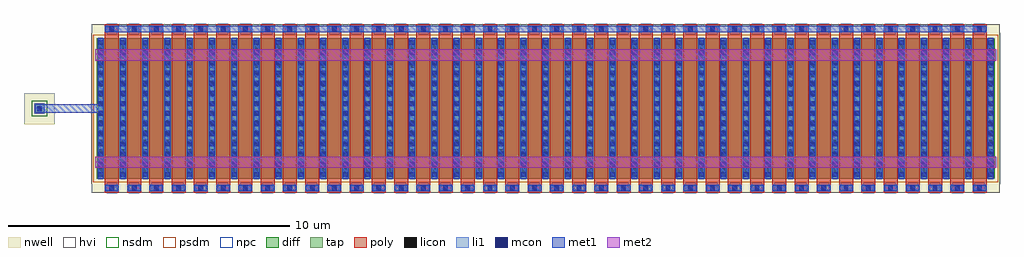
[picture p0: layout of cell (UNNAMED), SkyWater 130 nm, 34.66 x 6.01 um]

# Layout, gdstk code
import gdstk
lib = gdstk.Library(unit=1e-6, precision=1e-09)
def R(c, l, rs):  # rectangles x0, y0, x1, y1
    for r in rs: c.add(gdstk.rectangle(r[:2], r[2:], *l))
def A(c, l, x, y, w, h, nx, ny, dx, dy):  # array of equal rectangles
    R(c, l, [(x+i*dx, y+j*dy, x+i*dx+w, y+j*dy+h) for i in range(nx) for j in range(ny)])
nwell = (64, 20)
diff = (65, 20)
tap = (65, 44)
poly = (66, 20)
licon = (66, 44)
li1 = (67, 20)
mcon = (67, 44)
met1 = (68, 20)
met2 = (69, 20)
hvi = (75, 20)
nsdm = (93, 44)
psdm = (94, 20)
npc = (95, 20)

c__unnamed_ = lib.new_cell('(UNNAMED)')
R(c__unnamed_, nwell, [(-0.15,0,32.1,6)])
R(c__unnamed_, diff, [(0.03,0.5,31.92,5.5)])
A(c__unnamed_, poly, 0.32, 0.015, 0.5, 5.97, 40, 1, 0.79, 0)
A(c__unnamed_, licon, 0.485, 0.095, 0.17, 0.17, 40, 2, 0.79, 5.64)
A(c__unnamed_, licon, 0.09, 0.705, 0.17, 0.17, 41, 14, 0.79, 0.34)
R(c__unnamed_, licon, [(-2.085,2.908,-1.915,3.078)])
A(c__unnamed_, li1, 0.32, 0.095, 0.5, 0.17, 40, 2, 0.79, 5.64)
A(c__unnamed_, li1, 0.09, 0.48, 0.17, 5.04, 41, 1, 0.79, 0)
A(c__unnamed_, mcon, 0.485, 0.095, 0.17, 0.17, 40, 2, 0.79, 5.64)
A(c__unnamed_, mcon, 0.09, 0.575, 0.17, 0.17, 41, 14, 0.79, 0.36)
R(c__unnamed_, mcon, [(-2.085,2.908,-1.915,3.078)])
A(c__unnamed_, met1, 0.34, 0.065, 0.46, 0.23, 40, 1, 0.79, 0)
A(c__unnamed_, met1, 0.06, 0.5, 0.23, 5, 41, 1, 0.79, 0)
A(c__unnamed_, met1, 1.13, 5.705, 0.46, 0.23, 39, 1, 0.79, 0)
R(c__unnamed_, met1, [(0.34,5.705,31.2,5.935)])
R(c__unnamed_, hvi, [(-0.15,0,32.1,0.315), (-0.155,0.315,32.105,5.685), (-0.15,5.685,32.1,6)])
R(c__unnamed_, psdm, [(-0.095,0.375,32.045,5.625)])
A(c__unnamed_, npc, 0.385, -0.005, 0.37, 0.37, 40, 2, 0.79, 5.64)
c__unnamed_.add(gdstk.FlexPath([(-2.55,2.993),(-1.45,2.993)], 1.1, ends="flush", simple_path=True, layer=64, datatype=20))  # nwell
c__unnamed_.add(gdstk.FlexPath([(-2.188,2.993),(-1.813,2.993)], 0.375, ends="flush", simple_path=True, layer=67, datatype=20))  # li1
c__unnamed_.add(gdstk.FlexPath([(-2.15,2.993),(0.07,2.993)], 0.3, ends="flush", simple_path=True, layer=68, datatype=20))  # met1
c__unnamed_.add(gdstk.FlexPath([(31.705,4.9),(31.855,4.9)], 0.15, ends="flush", simple_path=True, layer=68, datatype=20))  # met1
c__unnamed_.add(gdstk.FlexPath([(30.125,4.9),(30.275,4.9)], 0.15, ends="flush", simple_path=True, layer=68, datatype=20))  # met1
c__unnamed_.add(gdstk.FlexPath([(28.545,4.9),(28.695,4.9)], 0.15, ends="flush", simple_path=True, layer=68, datatype=20))  # met1
c__unnamed_.add(gdstk.FlexPath([(26.965,4.9),(27.115,4.9)], 0.15, ends="flush", simple_path=True, layer=68, datatype=20))  # met1
c__unnamed_.add(gdstk.FlexPath([(25.385,4.9),(25.535,4.9)], 0.15, ends="flush", simple_path=True, layer=68, datatype=20))  # met1
c__unnamed_.add(gdstk.FlexPath([(23.805,4.9),(23.955,4.9)], 0.15, ends="flush", simple_path=True, layer=68, datatype=20))  # met1
c__unnamed_.add(gdstk.FlexPath([(22.225,4.9),(22.375,4.9)], 0.15, ends="flush", simple_path=True, layer=68, datatype=20))  # met1
c__unnamed_.add(gdstk.FlexPath([(20.645,4.9),(20.795,4.9)], 0.15, ends="flush", simple_path=True, layer=68, datatype=20))  # met1
c__unnamed_.add(gdstk.FlexPath([(19.065,4.9),(19.215,4.9)], 0.15, ends="flush", simple_path=True, layer=68, datatype=20))  # met1
c__unnamed_.add(gdstk.FlexPath([(17.485,4.9),(17.635,4.9)], 0.15, ends="flush", simple_path=True, layer=68, datatype=20))  # met1
c__unnamed_.add(gdstk.FlexPath([(15.905,4.9),(16.055,4.9)], 0.15, ends="flush", simple_path=True, layer=68, datatype=20))  # met1
c__unnamed_.add(gdstk.FlexPath([(14.325,4.9),(14.475,4.9)], 0.15, ends="flush", simple_path=True, layer=68, datatype=20))  # met1
c__unnamed_.add(gdstk.FlexPath([(12.745,4.9),(12.895,4.9)], 0.15, ends="flush", simple_path=True, layer=68, datatype=20))  # met1
c__unnamed_.add(gdstk.FlexPath([(11.165,4.9),(11.315,4.9)], 0.15, ends="flush", simple_path=True, layer=68, datatype=20))  # met1
c__unnamed_.add(gdstk.FlexPath([(9.585,4.9),(9.735,4.9)], 0.15, ends="flush", simple_path=True, layer=68, datatype=20))  # met1
c__unnamed_.add(gdstk.FlexPath([(8.005,4.9),(8.155,4.9)], 0.15, ends="flush", simple_path=True, layer=68, datatype=20))  # met1
c__unnamed_.add(gdstk.FlexPath([(6.425,4.9),(6.575,4.9)], 0.15, ends="flush", simple_path=True, layer=68, datatype=20))  # met1
c__unnamed_.add(gdstk.FlexPath([(4.845,4.9),(4.995,4.9)], 0.15, ends="flush", simple_path=True, layer=68, datatype=20))  # met1
c__unnamed_.add(gdstk.FlexPath([(3.265,4.9),(3.415,4.9)], 0.15, ends="flush", simple_path=True, layer=68, datatype=20))  # met1
c__unnamed_.add(gdstk.FlexPath([(1.685,4.9),(1.835,4.9)], 0.15, ends="flush", simple_path=True, layer=68, datatype=20))  # met1
c__unnamed_.add(gdstk.FlexPath([(0.105,4.9),(0.255,4.9)], 0.15, ends="flush", simple_path=True, layer=68, datatype=20))  # met1
c__unnamed_.add(gdstk.FlexPath([(0.105,4.9),(0.255,4.9)], 0.15, ends="flush", simple_path=True, layer=68, datatype=20))  # met1
c__unnamed_.add(gdstk.FlexPath([(1.685,4.9),(1.835,4.9)], 0.15, ends="flush", simple_path=True, layer=68, datatype=20))  # met1
c__unnamed_.add(gdstk.FlexPath([(3.265,4.9),(3.415,4.9)], 0.15, ends="flush", simple_path=True, layer=68, datatype=20))  # met1
c__unnamed_.add(gdstk.FlexPath([(4.845,4.9),(4.995,4.9)], 0.15, ends="flush", simple_path=True, layer=68, datatype=20))  # met1
c__unnamed_.add(gdstk.FlexPath([(6.425,4.9),(6.575,4.9)], 0.15, ends="flush", simple_path=True, layer=68, datatype=20))  # met1
c__unnamed_.add(gdstk.FlexPath([(8.005,4.9),(8.155,4.9)], 0.15, ends="flush", simple_path=True, layer=68, datatype=20))  # met1
c__unnamed_.add(gdstk.FlexPath([(9.585,4.9),(9.735,4.9)], 0.15, ends="flush", simple_path=True, layer=68, datatype=20))  # met1
c__unnamed_.add(gdstk.FlexPath([(11.165,4.9),(11.315,4.9)], 0.15, ends="flush", simple_path=True, layer=68, datatype=20))  # met1
c__unnamed_.add(gdstk.FlexPath([(12.745,4.9),(12.895,4.9)], 0.15, ends="flush", simple_path=True, layer=68, datatype=20))  # met1
c__unnamed_.add(gdstk.FlexPath([(14.325,4.9),(14.475,4.9)], 0.15, ends="flush", simple_path=True, layer=68, datatype=20))  # met1
c__unnamed_.add(gdstk.FlexPath([(15.905,4.9),(16.055,4.9)], 0.15, ends="flush", simple_path=True, layer=68, datatype=20))  # met1
c__unnamed_.add(gdstk.FlexPath([(17.485,4.9),(17.635,4.9)], 0.15, ends="flush", simple_path=True, layer=68, datatype=20))  # met1
c__unnamed_.add(gdstk.FlexPath([(19.065,4.9),(19.215,4.9)], 0.15, ends="flush", simple_path=True, layer=68, datatype=20))  # met1
c__unnamed_.add(gdstk.FlexPath([(20.645,4.9),(20.795,4.9)], 0.15, ends="flush", simple_path=True, layer=68, datatype=20))  # met1
c__unnamed_.add(gdstk.FlexPath([(22.225,4.9),(22.375,4.9)], 0.15, ends="flush", simple_path=True, layer=68, datatype=20))  # met1
c__unnamed_.add(gdstk.FlexPath([(23.805,4.9),(23.955,4.9)], 0.15, ends="flush", simple_path=True, layer=68, datatype=20))  # met1
c__unnamed_.add(gdstk.FlexPath([(25.385,4.9),(25.535,4.9)], 0.15, ends="flush", simple_path=True, layer=68, datatype=20))  # met1
c__unnamed_.add(gdstk.FlexPath([(26.965,4.9),(27.115,4.9)], 0.15, ends="flush", simple_path=True, layer=68, datatype=20))  # met1
c__unnamed_.add(gdstk.FlexPath([(28.545,4.9),(28.695,4.9)], 0.15, ends="flush", simple_path=True, layer=68, datatype=20))  # met1
c__unnamed_.add(gdstk.FlexPath([(30.125,4.9),(30.275,4.9)], 0.15, ends="flush", simple_path=True, layer=68, datatype=20))  # met1
c__unnamed_.add(gdstk.FlexPath([(31.705,4.9),(31.855,4.9)], 0.15, ends="flush", simple_path=True, layer=68, datatype=20))  # met1
c__unnamed_.add(gdstk.FlexPath([(0.89,1.09),(1.04,1.09)], 0.15, ends="flush", simple_path=True, layer=68, datatype=20))  # met1
c__unnamed_.add(gdstk.FlexPath([(2.47,1.09),(2.62,1.09)], 0.15, ends="flush", simple_path=True, layer=68, datatype=20))  # met1
c__unnamed_.add(gdstk.FlexPath([(4.05,1.09),(4.2,1.09)], 0.15, ends="flush", simple_path=True, layer=68, datatype=20))  # met1
c__unnamed_.add(gdstk.FlexPath([(5.63,1.09),(5.78,1.09)], 0.15, ends="flush", simple_path=True, layer=68, datatype=20))  # met1
c__unnamed_.add(gdstk.FlexPath([(7.21,1.09),(7.36,1.09)], 0.15, ends="flush", simple_path=True, layer=68, datatype=20))  # met1
c__unnamed_.add(gdstk.FlexPath([(8.79,1.09),(8.94,1.09)], 0.15, ends="flush", simple_path=True, layer=68, datatype=20))  # met1
c__unnamed_.add(gdstk.FlexPath([(10.37,1.09),(10.52,1.09)], 0.15, ends="flush", simple_path=True, layer=68, datatype=20))  # met1
c__unnamed_.add(gdstk.FlexPath([(11.95,1.09),(12.1,1.09)], 0.15, ends="flush", simple_path=True, layer=68, datatype=20))  # met1
c__unnamed_.add(gdstk.FlexPath([(13.53,1.09),(13.68,1.09)], 0.15, ends="flush", simple_path=True, layer=68, datatype=20))  # met1
c__unnamed_.add(gdstk.FlexPath([(15.11,1.09),(15.26,1.09)], 0.15, ends="flush", simple_path=True, layer=68, datatype=20))  # met1
c__unnamed_.add(gdstk.FlexPath([(16.69,1.09),(16.84,1.09)], 0.15, ends="flush", simple_path=True, layer=68, datatype=20))  # met1
c__unnamed_.add(gdstk.FlexPath([(18.27,1.09),(18.42,1.09)], 0.15, ends="flush", simple_path=True, layer=68, datatype=20))  # met1
c__unnamed_.add(gdstk.FlexPath([(19.85,1.09),(20,1.09)], 0.15, ends="flush", simple_path=True, layer=68, datatype=20))  # met1
c__unnamed_.add(gdstk.FlexPath([(21.43,1.09),(21.58,1.09)], 0.15, ends="flush", simple_path=True, layer=68, datatype=20))  # met1
c__unnamed_.add(gdstk.FlexPath([(23.01,1.09),(23.16,1.09)], 0.15, ends="flush", simple_path=True, layer=68, datatype=20))  # met1
c__unnamed_.add(gdstk.FlexPath([(24.59,1.09),(24.74,1.09)], 0.15, ends="flush", simple_path=True, layer=68, datatype=20))  # met1
c__unnamed_.add(gdstk.FlexPath([(26.17,1.09),(26.32,1.09)], 0.15, ends="flush", simple_path=True, layer=68, datatype=20))  # met1
c__unnamed_.add(gdstk.FlexPath([(27.75,1.09),(27.9,1.09)], 0.15, ends="flush", simple_path=True, layer=68, datatype=20))  # met1
c__unnamed_.add(gdstk.FlexPath([(29.33,1.09),(29.48,1.09)], 0.15, ends="flush", simple_path=True, layer=68, datatype=20))  # met1
c__unnamed_.add(gdstk.FlexPath([(30.91,1.09),(31.06,1.09)], 0.15, ends="flush", simple_path=True, layer=68, datatype=20))  # met1
c__unnamed_.add(gdstk.FlexPath([(31.705,4.9),(31.855,4.9)], 0.15, ends="flush", simple_path=True, layer=69, datatype=20))  # met2
c__unnamed_.add(gdstk.FlexPath([(30.125,4.9),(30.275,4.9)], 0.15, ends="flush", simple_path=True, layer=69, datatype=20))  # met2
c__unnamed_.add(gdstk.FlexPath([(28.545,4.9),(28.695,4.9)], 0.15, ends="flush", simple_path=True, layer=69, datatype=20))  # met2
c__unnamed_.add(gdstk.FlexPath([(26.965,4.9),(27.115,4.9)], 0.15, ends="flush", simple_path=True, layer=69, datatype=20))  # met2
c__unnamed_.add(gdstk.FlexPath([(25.385,4.9),(25.535,4.9)], 0.15, ends="flush", simple_path=True, layer=69, datatype=20))  # met2
c__unnamed_.add(gdstk.FlexPath([(23.805,4.9),(23.955,4.9)], 0.15, ends="flush", simple_path=True, layer=69, datatype=20))  # met2
c__unnamed_.add(gdstk.FlexPath([(22.225,4.9),(22.375,4.9)], 0.15, ends="flush", simple_path=True, layer=69, datatype=20))  # met2
c__unnamed_.add(gdstk.FlexPath([(20.645,4.9),(20.795,4.9)], 0.15, ends="flush", simple_path=True, layer=69, datatype=20))  # met2
c__unnamed_.add(gdstk.FlexPath([(19.065,4.9),(19.215,4.9)], 0.15, ends="flush", simple_path=True, layer=69, datatype=20))  # met2
c__unnamed_.add(gdstk.FlexPath([(17.485,4.9),(17.635,4.9)], 0.15, ends="flush", simple_path=True, layer=69, datatype=20))  # met2
c__unnamed_.add(gdstk.FlexPath([(15.905,4.9),(16.055,4.9)], 0.15, ends="flush", simple_path=True, layer=69, datatype=20))  # met2
c__unnamed_.add(gdstk.FlexPath([(14.325,4.9),(14.475,4.9)], 0.15, ends="flush", simple_path=True, layer=69, datatype=20))  # met2
c__unnamed_.add(gdstk.FlexPath([(12.745,4.9),(12.895,4.9)], 0.15, ends="flush", simple_path=True, layer=69, datatype=20))  # met2
c__unnamed_.add(gdstk.FlexPath([(11.165,4.9),(11.315,4.9)], 0.15, ends="flush", simple_path=True, layer=69, datatype=20))  # met2
c__unnamed_.add(gdstk.FlexPath([(9.585,4.9),(9.735,4.9)], 0.15, ends="flush", simple_path=True, layer=69, datatype=20))  # met2
c__unnamed_.add(gdstk.FlexPath([(8.005,4.9),(8.155,4.9)], 0.15, ends="flush", simple_path=True, layer=69, datatype=20))  # met2
c__unnamed_.add(gdstk.FlexPath([(6.425,4.9),(6.575,4.9)], 0.15, ends="flush", simple_path=True, layer=69, datatype=20))  # met2
c__unnamed_.add(gdstk.FlexPath([(4.845,4.9),(4.995,4.9)], 0.15, ends="flush", simple_path=True, layer=69, datatype=20))  # met2
c__unnamed_.add(gdstk.FlexPath([(3.265,4.9),(3.415,4.9)], 0.15, ends="flush", simple_path=True, layer=69, datatype=20))  # met2
c__unnamed_.add(gdstk.FlexPath([(1.685,4.9),(1.835,4.9)], 0.15, ends="flush", simple_path=True, layer=69, datatype=20))  # met2
c__unnamed_.add(gdstk.FlexPath([(0.105,4.9),(0.255,4.9)], 0.15, ends="flush", simple_path=True, layer=69, datatype=20))  # met2
c__unnamed_.add(gdstk.FlexPath([(31.779,4.9),(0.182,4.9)], 0.4, ends="extended", simple_path=True, layer=69, datatype=20))  # met2
c__unnamed_.add(gdstk.FlexPath([(31.779,1.09),(0.182,1.09)], 0.4, ends="extended", simple_path=True, layer=69, datatype=20))  # met2
c__unnamed_.add(gdstk.FlexPath([(0.105,4.9),(0.255,4.9)], 0.15, ends="flush", simple_path=True, layer=69, datatype=20))  # met2
c__unnamed_.add(gdstk.FlexPath([(1.685,4.9),(1.835,4.9)], 0.15, ends="flush", simple_path=True, layer=69, datatype=20))  # met2
c__unnamed_.add(gdstk.FlexPath([(3.265,4.9),(3.415,4.9)], 0.15, ends="flush", simple_path=True, layer=69, datatype=20))  # met2
c__unnamed_.add(gdstk.FlexPath([(4.845,4.9),(4.995,4.9)], 0.15, ends="flush", simple_path=True, layer=69, datatype=20))  # met2
c__unnamed_.add(gdstk.FlexPath([(6.425,4.9),(6.575,4.9)], 0.15, ends="flush", simple_path=True, layer=69, datatype=20))  # met2
c__unnamed_.add(gdstk.FlexPath([(8.005,4.9),(8.155,4.9)], 0.15, ends="flush", simple_path=True, layer=69, datatype=20))  # met2
c__unnamed_.add(gdstk.FlexPath([(9.585,4.9),(9.735,4.9)], 0.15, ends="flush", simple_path=True, layer=69, datatype=20))  # met2
c__unnamed_.add(gdstk.FlexPath([(11.165,4.9),(11.315,4.9)], 0.15, ends="flush", simple_path=True, layer=69, datatype=20))  # met2
c__unnamed_.add(gdstk.FlexPath([(12.745,4.9),(12.895,4.9)], 0.15, ends="flush", simple_path=True, layer=69, datatype=20))  # met2
c__unnamed_.add(gdstk.FlexPath([(14.325,4.9),(14.475,4.9)], 0.15, ends="flush", simple_path=True, layer=69, datatype=20))  # met2
c__unnamed_.add(gdstk.FlexPath([(15.905,4.9),(16.055,4.9)], 0.15, ends="flush", simple_path=True, layer=69, datatype=20))  # met2
c__unnamed_.add(gdstk.FlexPath([(17.485,4.9),(17.635,4.9)], 0.15, ends="flush", simple_path=True, layer=69, datatype=20))  # met2
c__unnamed_.add(gdstk.FlexPath([(19.065,4.9),(19.215,4.9)], 0.15, ends="flush", simple_path=True, layer=69, datatype=20))  # met2
c__unnamed_.add(gdstk.FlexPath([(20.645,4.9),(20.795,4.9)], 0.15, ends="flush", simple_path=True, layer=69, datatype=20))  # met2
c__unnamed_.add(gdstk.FlexPath([(22.225,4.9),(22.375,4.9)], 0.15, ends="flush", simple_path=True, layer=69, datatype=20))  # met2
c__unnamed_.add(gdstk.FlexPath([(23.805,4.9),(23.955,4.9)], 0.15, ends="flush", simple_path=True, layer=69, datatype=20))  # met2
c__unnamed_.add(gdstk.FlexPath([(25.385,4.9),(25.535,4.9)], 0.15, ends="flush", simple_path=True, layer=69, datatype=20))  # met2
c__unnamed_.add(gdstk.FlexPath([(26.965,4.9),(27.115,4.9)], 0.15, ends="flush", simple_path=True, layer=69, datatype=20))  # met2
c__unnamed_.add(gdstk.FlexPath([(28.545,4.9),(28.695,4.9)], 0.15, ends="flush", simple_path=True, layer=69, datatype=20))  # met2
c__unnamed_.add(gdstk.FlexPath([(30.125,4.9),(30.275,4.9)], 0.15, ends="flush", simple_path=True, layer=69, datatype=20))  # met2
c__unnamed_.add(gdstk.FlexPath([(31.705,4.9),(31.855,4.9)], 0.15, ends="flush", simple_path=True, layer=69, datatype=20))  # met2
c__unnamed_.add(gdstk.FlexPath([(0.89,1.09),(1.04,1.09)], 0.15, ends="flush", simple_path=True, layer=69, datatype=20))  # met2
c__unnamed_.add(gdstk.FlexPath([(2.47,1.09),(2.62,1.09)], 0.15, ends="flush", simple_path=True, layer=69, datatype=20))  # met2
c__unnamed_.add(gdstk.FlexPath([(4.05,1.09),(4.2,1.09)], 0.15, ends="flush", simple_path=True, layer=69, datatype=20))  # met2
c__unnamed_.add(gdstk.FlexPath([(5.63,1.09),(5.78,1.09)], 0.15, ends="flush", simple_path=True, layer=69, datatype=20))  # met2
c__unnamed_.add(gdstk.FlexPath([(7.21,1.09),(7.36,1.09)], 0.15, ends="flush", simple_path=True, layer=69, datatype=20))  # met2
c__unnamed_.add(gdstk.FlexPath([(8.79,1.09),(8.94,1.09)], 0.15, ends="flush", simple_path=True, layer=69, datatype=20))  # met2
c__unnamed_.add(gdstk.FlexPath([(10.37,1.09),(10.52,1.09)], 0.15, ends="flush", simple_path=True, layer=69, datatype=20))  # met2
c__unnamed_.add(gdstk.FlexPath([(11.95,1.09),(12.1,1.09)], 0.15, ends="flush", simple_path=True, layer=69, datatype=20))  # met2
c__unnamed_.add(gdstk.FlexPath([(13.53,1.09),(13.68,1.09)], 0.15, ends="flush", simple_path=True, layer=69, datatype=20))  # met2
c__unnamed_.add(gdstk.FlexPath([(15.11,1.09),(15.26,1.09)], 0.15, ends="flush", simple_path=True, layer=69, datatype=20))  # met2
c__unnamed_.add(gdstk.FlexPath([(16.69,1.09),(16.84,1.09)], 0.15, ends="flush", simple_path=True, layer=69, datatype=20))  # met2
c__unnamed_.add(gdstk.FlexPath([(18.27,1.09),(18.42,1.09)], 0.15, ends="flush", simple_path=True, layer=69, datatype=20))  # met2
c__unnamed_.add(gdstk.FlexPath([(19.85,1.09),(20,1.09)], 0.15, ends="flush", simple_path=True, layer=69, datatype=20))  # met2
c__unnamed_.add(gdstk.FlexPath([(21.43,1.09),(21.58,1.09)], 0.15, ends="flush", simple_path=True, layer=69, datatype=20))  # met2
c__unnamed_.add(gdstk.FlexPath([(23.01,1.09),(23.16,1.09)], 0.15, ends="flush", simple_path=True, layer=69, datatype=20))  # met2
c__unnamed_.add(gdstk.FlexPath([(24.59,1.09),(24.74,1.09)], 0.15, ends="flush", simple_path=True, layer=69, datatype=20))  # met2
c__unnamed_.add(gdstk.FlexPath([(26.17,1.09),(26.32,1.09)], 0.15, ends="flush", simple_path=True, layer=69, datatype=20))  # met2
c__unnamed_.add(gdstk.FlexPath([(27.75,1.09),(27.9,1.09)], 0.15, ends="flush", simple_path=True, layer=69, datatype=20))  # met2
c__unnamed_.add(gdstk.FlexPath([(29.33,1.09),(29.48,1.09)], 0.15, ends="flush", simple_path=True, layer=69, datatype=20))  # met2
c__unnamed_.add(gdstk.FlexPath([(30.91,1.09),(31.06,1.09)], 0.15, ends="flush", simple_path=True, layer=69, datatype=20))  # met2
c__unnamed_.add(gdstk.FlexPath([(-2.15,2.993),(-1.85,2.993)], 0.3, ends="flush", simple_path=True, layer=65, datatype=44))  # tap
c__unnamed_.add(gdstk.FlexPath([(-2.275,2.993),(-1.725,2.993)], 0.55, ends="flush", simple_path=True, layer=93, datatype=44))  # nsdm

lib.write_gds('_UNNAMED_.gds')
